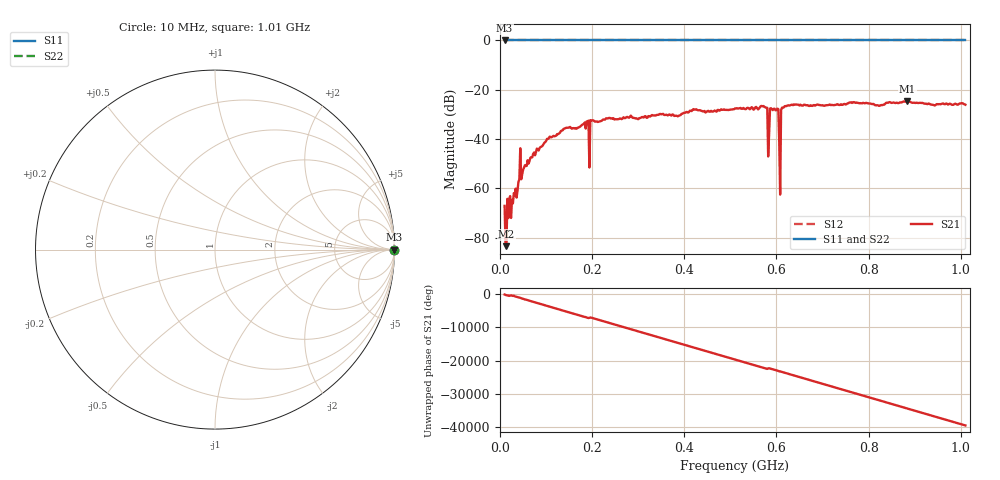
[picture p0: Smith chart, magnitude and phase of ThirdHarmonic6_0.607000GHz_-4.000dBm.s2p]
! 8/15/2025 7:51:27 PM
! C:\ANRITSUVNA\TEMP\TEMP.S2P
! CHANNEL.1
! TR.MEASUREMENT
! RAW.DATA
! RF.CORRECTION.OFF
! AVERAGING.OFF
! IF.BANDWIDTH: 5KHZ
! SWEEPTYPE:  FREQ.SWEEP(Linear)
! Reference Plane Port Info
! PORT:  PORT1  PORT2
! DISTANCE:  0  m  0  m
! TIME:  0  s  0  s
! PHASE.OFFSET:  0  deg.  0  deg.
! LOSS:  0  dB  0  dB
! REF.LOSS:  0  dB  0  dB
! REF.FREQ:  0  Hz  0  Hz
! Power Info
! POWER:  -20  dBm  -20  dBm
! EFF.POWER:  -20  dBm  -20  dBm
! SOURCE.ATTEN:  0  dB  0  dB
! TEST.ATTEN:  0  dB  0  dB
# GHZ S RI R 50.0
! FREQ.GHZ  S11RE  S11IM  S21RE  S21IM  S12RE  S12IM  S22RE  S22IM
!; PortSelection: Port_12
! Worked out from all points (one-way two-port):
!   501 points, 10 MHz to 1.01 GHz, reference 50 ohm
!   highest |S21| = -24.61 dB at 884 MHz (marker M1); lowest = -83.5 dB at 14 MHz (marker M2)
!   lowest |S11| = 0.0 dB at 10 MHz (marker M3)
!   |S11| at or under -10 dB: nowhere
!   |S22| runs from 0.0 to 0.0 dB; largest |S21 - S12| = 1.1
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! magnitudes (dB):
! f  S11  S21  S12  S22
! 10 MHz  0.0  -67.1  0.0  0.0
! 14 MHz  0.0  -83.5  0.0  0.0
! 48 MHz  0.0  -54.4  0.0  0.0
! 106 MHz  0.0  -39.6  0.0  0.0
! 178 MHz  0.0  -34.3  0.0  0.0
! 190 MHz  0.0  -32.8  0.0  0.0
! 344 MHz  0.0  -30.2  0.0  0.0
! 510 MHz  0.0  -27.6  0.0  0.0
! 576 MHz  0.0  -27.1  0.0  0.0
! 580 MHz  0.0  -27.3  0.0  0.0
! 586 MHz  0.0  -27.6  0.0  0.0
! 590 MHz  0.0  -27.8  0.0  0.0
! 600 MHz  0.0  -28.3  0.0  0.0
! 604 MHz  0.0  -27.9  0.0  0.0
! 606 MHz  0.0  -41.2  0.0  0.0
! 610 MHz  0.0  -28.3  0.0  0.0
! 614 MHz  0.0  -27.3  0.0  0.0
! 616 MHz  0.0  -27.1  0.0  0.0
! 678 MHz  0.0  -26.6  0.0  0.0
! 844 MHz  0.0  -25.1  0.0  0.0
! 884 MHz  0.0  -24.6  0.0  0.0
! 1.01 GHz  0.0  -26.1  0.0  0.0
